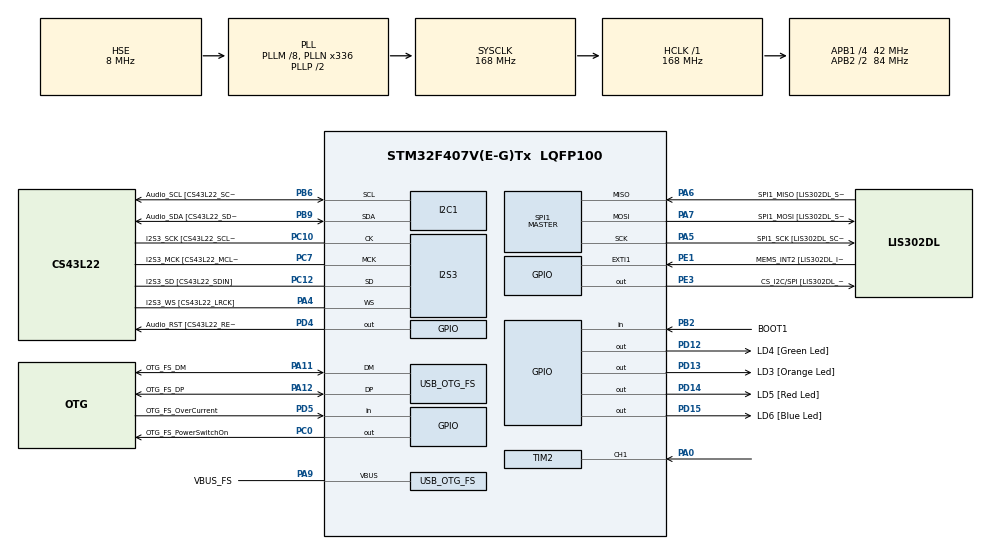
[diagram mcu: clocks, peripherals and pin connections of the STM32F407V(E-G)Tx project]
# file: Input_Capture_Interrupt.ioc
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I2S3.AudioFreq-Half_Duplex_Master=I2S_AUDIOFREQ_96K
I2S3.ErrorAudioFreq=-2.34 %
I2S3.ErrorAudioFreq-Half_Duplex_Master=0.8 %
I2S3.FullDuplexMode=I2S_FULLDUPLEXMODE_DISABLE
I2S3.Instance=SPI$Index
I2S3.RealAudioFreq=93.75 KHz
I2S3.RealAudioFreq-Half_Duplex_Master=96.774 KHz
I2S3.VirtualMode=I2S_MODE_MASTER
Mcu.Family=STM32F4
Mcu.Name=STM32F407V(E-G)Tx
Mcu.Package=LQFP100
NVIC.OTG_FS_IRQn=true\:0\:0\:false\:false\:true\:true\:true\:true
NVIC.PriorityGroup=NVIC_PRIORITYGROUP_0
NVIC.TIM2_IRQn=true\:0\:0\:false\:false\:true\:true\:true\:true
PA0-WKUP.Signal=S_TIM2_CH1_ETR
PA10.GPIO_Label=OTG_FS_ID
PA10.GPIO_Mode=GPIO_MODE_AF_PP
PA10.GPIO_PuPd=GPIO_NOPULL
PA10.GPIO_Speed=GPIO_SPEED_FREQ_LOW
PA10.Signal=USB_OTG_FS_ID
PA11.GPIO_Label=OTG_FS_DM
PA11.GPIO_Mode=GPIO_MODE_AF_PP
PA11.GPIO_PuPd=GPIO_NOPULL
PA11.GPIO_Speed=GPIO_SPEED_FREQ_LOW
PA11.Mode=Host_Only
PA11.Signal=USB_OTG_FS_DM
PA12.GPIO_Label=OTG_FS_DP
PA12.GPIO_Mode=GPIO_MODE_AF_PP
PA12.GPIO_PuPd=GPIO_NOPULL
PA12.GPIO_Speed=GPIO_SPEED_FREQ_LOW
PA12.Mode=Host_Only
PA12.Signal=USB_OTG_FS_DP
PA13.GPIO_Label=SWDIO
PA13.Mode=Serial_Wire
PA13.Signal=SYS_JTMS-SWDIO
PA14.GPIO_Label=SWCLK
PA14.Mode=Serial_Wire
PA14.Signal=SYS_JTCK-SWCLK
PA4.GPIO_Label=I2S3_WS [CS43L22_LRCK]
PA4.GPIO_Mode=GPIO_MODE_AF_PP
PA4.GPIO_PuPd=GPIO_NOPULL
PA4.GPIO_Speed=GPIO_SPEED_FREQ_LOW
PA4.Mode=Half_Duplex_Master
PA4.Signal=I2S3_WS
PA5.GPIO_Label=SPI1_SCK [LIS302DL_SCL/SPC]
PA5.GPIO_Mode=GPIO_MODE_AF_PP
PA5.GPIO_PuPd=GPIO_NOPULL
PA5.GPIO_Speed=GPIO_SPEED_FREQ_LOW
PA5.Mode=Full_Duplex_Master
PA5.Signal=SPI1_SCK
PA6.GPIO_Label=SPI1_MISO [LIS302DL_SDO]
PA6.GPIO_Mode=GPIO_MODE_AF_PP
PA6.GPIO_PuPd=GPIO_NOPULL
PA6.GPIO_Speed=GPIO_SPEED_FREQ_LOW
PA6.Mode=Full_Duplex_Master
PA6.Signal=SPI1_MISO
PA7.GPIO_Label=SPI1_MOSI [LIS302DL_SDA/SDI/SDO]
PA7.GPIO_Mode=GPIO_MODE_AF_PP
PA7.GPIO_PuPd=GPIO_NOPULL
PA7.GPIO_Speed=GPIO_SPEED_FREQ_LOW
PA7.Mode=Full_Duplex_Master
PA7.Signal=SPI1_MOSI
PA9.GPIO_Label=VBUS_FS
PA9.GPIO_Mode=GPIO_MODE_INPUT
PA9.GPIO_PuPd=GPIO_NOPULL
PA9.Mode=Activate_VBUS
PA9.Signal=USB_OTG_FS_VBUS
PB10.GPIO_Label=CLK_IN [MP45DT02_CLK]
PB10.GPIO_Mode=GPIO_MODE_AF_PP
PB10.GPIO_PuPd=GPIO_NOPULL
PB10.GPIO_Speed=GPIO_SPEED_FREQ_LOW
PB10.Signal=I2S2_CK
PB2.GPIO_Label=BOOT1
PB2.GPIO_Mode=GPIO_MODE_INPUT
PB2.GPIO_PuPd=GPIO_NOPULL
PB2.Signal=GPIO_Input
PB3.GPIO_Label=SWO
PB3.Signal=SYS_JTDO-SWO
PB6.GPIO_Label=Audio_SCL [CS43L22_SCL]
PB6.GPIO_Mode=GPIO_MODE_AF_OD
PB6.GPIO_Pu=GPIO_PULLUP
PB6.GPIO_PuPd=GPIO_NOPULL
PB6.GPIO_Speed=GPIO_SPEED_FREQ_LOW
PB6.Mode=I2C
PB6.Signal=I2C1_SCL
PB9.GPIO_Label=Audio_SDA [CS43L22_SDA]
PB9.GPIO_Mode=GPIO_MODE_AF_OD
PB9.GPIO_Pu=GPIO_PULLUP
PB9.GPIO_PuPd=GPIO_NOPULL
PB9.GPIO_Speed=GPIO_SPEED_FREQ_LOW
PB9.Mode=I2C
PB9.Signal=I2C1_SDA
PC0.GPIO_Label=OTG_FS_PowerSwitchOn
PC0.GPIO_PuPd=GPIO_NOPULL
PC0.GPIO_Speed=GPIO_SPEED_FREQ_LOW
PC0.PinState=GPIO_PIN_SET
PC0.Signal=GPIO_Output
PC10.GPIO_Label=I2S3_SCK [CS43L22_SCLK]
PC10.GPIO_Mode=GPIO_MODE_AF_PP
PC10.GPIO_PuPd=GPIO_NOPULL
PC10.GPIO_Speed=GPIO_SPEED_FREQ_LOW
PC10.Mode=Half_Duplex_Master
PC10.Signal=I2S3_CK
PC12.GPIO_Label=I2S3_SD [CS43L22_SDIN]
PC12.GPIO_Mode=GPIO_MODE_AF_PP
PC12.GPIO_PuPd=GPIO_NOPULL
PC12.GPIO_Speed=GPIO_SPEED_FREQ_LOW
PC12.Mode=Half_Duplex_Master
PC12.Signal=I2S3_SD
PC14-OSC32_IN.GPIO_Label=PC14-OSC32_IN
PC14-OSC32_IN.Mode=LSE-External-Oscillator
PC14-OSC32_IN.Signal=RCC_OSC32_IN
PC15-OSC32_OUT.GPIO_Label=PC15-OSC32_OUT
PC15-OSC32_OUT.Mode=LSE-External-Oscillator
PC15-OSC32_OUT.Signal=RCC_OSC32_OUT
PC3.GPIO_Label=PDM_OUT [MP45DT02_DOUT]
PC3.GPIO_Mode=GPIO_MODE_AF_PP
PC3.GPIO_PuPd=GPIO_NOPULL
PC3.GPIO_Speed=GPIO_SPEED_FREQ_LOW
PC3.Signal=I2S2_SD
PC7.GPIO_Label=I2S3_MCK [CS43L22_MCLK]
PC7.GPIO_Mode=GPIO_MODE_AF_PP
PC7.GPIO_PuPd=GPIO_NOPULL
PC7.GPIO_Speed=GPIO_SPEED_FREQ_LOW
PC7.Mode=Master_Clock_Activated
PC7.Signal=I2S3_MCK
PD12.GPIO_Label=LD4 [Green Led]
PD12.GPIO_PuPd=GPIO_NOPULL
PD12.GPIO_Speed=GPIO_SPEED_FREQ_LOW
PD12.Signal=GPIO_Output
PD13.GPIO_Label=LD3 [Orange Led]
PD13.GPIO_PuPd=GPIO_NOPULL
PD13.GPIO_Speed=GPIO_SPEED_FREQ_LOW
PD13.Signal=GPIO_Output
PD14.GPIO_Label=LD5 [Red Led]
PD14.GPIO_PuPd=GPIO_NOPULL
PD14.GPIO_Speed=GPIO_SPEED_FREQ_LOW
PD14.Signal=GPIO_Output
PD15.GPIO_Label=LD6 [Blue Led]
PD15.GPIO_PuPd=GPIO_NOPULL
PD15.GPIO_Speed=GPIO_SPEED_FREQ_LOW
PD15.Signal=GPIO_Output
PD4.GPIO_Label=Audio_RST [CS43L22_RESET]
PD4.GPIO_PuPd=GPIO_NOPULL
PD4.GPIO_Speed=GPIO_SPEED_FREQ_LOW
PD4.Signal=GPIO_Output
PD5.GPIO_Label=OTG_FS_OverCurrent
PD5.GPIO_Mode=GPIO_MODE_INPUT
PD5.GPIO_PuPd=GPIO_NOPULL
PD5.Signal=GPIO_Input
PE1.GPIO_Label=MEMS_INT2 [LIS302DL_INT2]
PE1.GPIO_ModeDefaultEXTI=GPIO_MODE_EVT_RISING
PE1.GPIO_PuPd=GPIO_NOPULL
PE1.Signal=GPXTI1
PE3.GPIO_Label=CS_I2C/SPI [LIS302DL_CS_I2C/SPI]
PE3.GPIO_PuPd=GPIO_NOPULL
PE3.GPIO_Speed=GPIO_SPEED_FREQ_LOW
PE3.Signal=GPIO_Output
PH0-OSC_IN.GPIO_Label=PH0-OSC_IN
PH0-OSC_IN.Mode=HSE-External-Oscillator
PH0-OSC_IN.Signal=RCC_OSC_IN
PH1-OSC_OUT.GPIO_Label=PH1-OSC_OUT
PH1-OSC_OUT.Mode=HSE-External-Oscillator
PH1-OSC_OUT.Signal=RCC_OSC_OUT
ProjectManager.HeapSize=0x200
ProjectManager.StackSize=0x400
ProjectManager.TargetToolchain=STM32CubeIDE
RCC.48MHZClocksFreq_Value=48000000
RCC.AHBFreq_Value=168000000
RCC.APB1CLKDivider=RCC_HCLK_DIV4
RCC.APB1Freq_Value=42000000
RCC.APB1TimFreq_Value=84000000
RCC.APB2CLKDivider=RCC_HCLK_DIV2
RCC.APB2Freq_Value=84000000
RCC.APB2TimFreq_Value=168000000
RCC.CortexFreq_Value=168000000
RCC.HCLKFreq_Value=168000000
RCC.HSE_VALUE=8000000
RCC.HSI_VALUE=16000000
RCC.PLLM=8
RCC.PLLN=336
RCC.PLLQ=7
RCC.SYSCLKFreq_VALUE=168000000
RCC.SYSCLKSource=RCC_SYSCLKSOURCE_PLLCLK
RCC.VCOOutputFreq_Value=336000000
SH.S_TIM2_CH1_ETR.0=TIM2_CH1,Input_Capture1_from_TI1
SPI1.BaudRatePrescaler-Full_Duplex_Master=SPI_BAUDRATEPRESCALER_2
SPI1.CalculateBaudRate-Full_Duplex_Master=42.0 MBits/s
SPI1.Direction=SPI_DIRECTION_2LINES
SPI1.Mode=SPI_MODE_MASTER
SPI1.Mode-Full_Duplex_Master=SPI_MODE_MASTER
SPI1.VirtualType=VM_MASTER
TIM2.Channel-Input_Capture1_from_TI1=TIM_CHANNEL_1
TIM2.Period=5000-1
TIM2.Prescaler=8400-1
USB_HOST.BSP.number=1
USB_HOST.USBH_HandleTypeDef-CDC_FS=hUsbHostFS
USB_HOST.VirtualModeFS=Cdc
USB_HOST0.BSP.STBoard=false
USB_HOST0.BSP.api=Unknown
USB_HOST0.BSP.instance=PC0
USB_HOST0.BSP.ip=GPIO
USB_HOST0.BSP.mode=Output
USB_HOST0.BSP.name=Drive_VBUS_FS
USB_HOST0.BSP.solution=PC0
USB_OTG_FS.VirtualMode=Host_Only
USB_OTG_FS.phy_itface=HCD_PHY_EMBEDDED
VP_TIM2_VS_ClockSourceINT.Mode=Internal
VP_USB_HOST_VS_USB_HOST_CDC_FS.Mode=CDC_FS
board=STM32F407G-DISC1

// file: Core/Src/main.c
/* USER CODE BEGIN Header */
/**
  ******************************************************************************
  * @file           : main.c
  * @brief          : Main program body
  ******************************************************************************
  * @attention
  *
  * Copyright (c) 2025 STMicroelectronics.
  * All rights reserved.
  *
  * This software is licensed under terms that can be found in the LICENSE file
  * in the root directory of this software component.
  * If no LICENSE file comes with this software, it is provided AS-IS.
  *
  ******************************************************************************
  */
/* USER CODE END Header */
#include "main.h"
#include "usb_host.h"

I2C_HandleTypeDef hi2c1;

I2S_HandleTypeDef hi2s3;

SPI_HandleTypeDef hspi1;

TIM_HandleTypeDef htim2;

/* USER CODE BEGIN PV */
uint8_t gCaptureFlag = 0;
uint32_t gCaptureValue1 = 0;
uint32_t gCaptureValue2 = 0;
uint32_t gPeriod = 0;

/* USER CODE END PV */

void SystemClock_Config(void);
static void MX_GPIO_Init(void);
static void MX_I2C1_Init(void);
static void MX_I2S3_Init(void);
static void MX_SPI1_Init(void);
static void MX_TIM2_Init(void);
void MX_USB_HOST_Process(void);

int main(void)
{

  /* MCU Configuration--------------------------------------------------------*/

  /* Reset of all peripherals, Initializes the Flash interface and the Systick. */
  HAL_Init();

  /* Configure the system clock */
  SystemClock_Config();

  /* Initialize all configured peripherals */
  MX_GPIO_Init();
  MX_I2C1_Init();
  MX_I2S3_Init();
  MX_SPI1_Init();
  MX_USB_HOST_Init();
  MX_TIM2_Init();
  /* USER CODE BEGIN 2 */
  HAL_TIM_IC_Start_IT(&htim2, TIM_CHANNEL_1);

  /* USER CODE END 2 */

  /* Infinite loop */
  while (1)
  {
    MX_USB_HOST_Process();

  }
}

void SystemClock_Config(void)
{
  RCC_OscInitTypeDef RCC_OscInitStruct = {0};
  RCC_ClkInitTypeDef RCC_ClkInitStruct = {0};

  /** Configure the main internal regulator output voltage
  */
  __HAL_RCC_PWR_CLK_ENABLE();
  __HAL_PWR_VOLTAGESCALING_CONFIG(PWR_REGULATOR_VOLTAGE_SCALE1);

  /** Initializes the RCC Oscillators according to the specified parameters
  * in the RCC_OscInitTypeDef structure.
  */
  RCC_OscInitStruct.OscillatorType = RCC_OSCILLATORTYPE_HSE;
  RCC_OscInitStruct.HSEState = RCC_HSE_ON;
  RCC_OscInitStruct.PLL.PLLState = RCC_PLL_ON;
  RCC_OscInitStruct.PLL.PLLSource = RCC_PLLSOURCE_HSE;
  RCC_OscInitStruct.PLL.PLLM = 8;
  RCC_OscInitStruct.PLL.PLLN = 336;
  RCC_OscInitStruct.PLL.PLLP = RCC_PLLP_DIV2;
  RCC_OscInitStruct.PLL.PLLQ = 7;
  if (HAL_RCC_OscConfig(&RCC_OscInitStruct) != HAL_OK)
  {
    Error_Handler();
  }

  /** Initializes the CPU, AHB and APB buses clocks
  */
  RCC_ClkInitStruct.ClockType = RCC_CLOCKTYPE_HCLK|RCC_CLOCKTYPE_SYSCLK
                              |RCC_CLOCKTYPE_PCLK1|RCC_CLOCKTYPE_PCLK2;
  RCC_ClkInitStruct.SYSCLKSource = RCC_SYSCLKSOURCE_PLLCLK;
  RCC_ClkInitStruct.AHBCLKDivider = RCC_SYSCLK_DIV1;
  RCC_ClkInitStruct.APB1CLKDivider = RCC_HCLK_DIV4;
  RCC_ClkInitStruct.APB2CLKDivider = RCC_HCLK_DIV2;

  if (HAL_RCC_ClockConfig(&RCC_ClkInitStruct, FLASH_LATENCY_5) != HAL_OK)
  {
    Error_Handler();
  }
}

static void MX_I2C1_Init(void)
{

  hi2c1.Instance = I2C1;
  hi2c1.Init.ClockSpeed = 100000;
  hi2c1.Init.DutyCycle = I2C_DUTYCYCLE_2;
  hi2c1.Init.OwnAddress1 = 0;
  hi2c1.Init.AddressingMode = I2C_ADDRESSINGMODE_7BIT;
  hi2c1.Init.DualAddressMode = I2C_DUALADDRESS_DISABLE;
  hi2c1.Init.OwnAddress2 = 0;
  hi2c1.Init.GeneralCallMode = I2C_GENERALCALL_DISABLE;
  hi2c1.Init.NoStretchMode = I2C_NOSTRETCH_DISABLE;
  if (HAL_I2C_Init(&hi2c1) != HAL_OK)
  {
    Error_Handler();
  }

}

static void MX_I2S3_Init(void)
{

  hi2s3.Instance = SPI3;
  hi2s3.Init.Mode = I2S_MODE_MASTER_TX;
  hi2s3.Init.Standard = I2S_STANDARD_PHILIPS;
  hi2s3.Init.DataFormat = I2S_DATAFORMAT_16B;
  hi2s3.Init.MCLKOutput = I2S_MCLKOUTPUT_ENABLE;
  hi2s3.Init.AudioFreq = I2S_AUDIOFREQ_96K;
  hi2s3.Init.CPOL = I2S_CPOL_LOW;
  hi2s3.Init.ClockSource = I2S_CLOCK_PLL;
  hi2s3.Init.FullDuplexMode = I2S_FULLDUPLEXMODE_DISABLE;
  if (HAL_I2S_Init(&hi2s3) != HAL_OK)
  {
    Error_Handler();
  }

}

static void MX_SPI1_Init(void)
{

  /* SPI1 parameter configuration*/
  hspi1.Instance = SPI1;
  hspi1.Init.Mode = SPI_MODE_MASTER;
  hspi1.Init.Direction = SPI_DIRECTION_2LINES;
  hspi1.Init.DataSize = SPI_DATASIZE_8BIT;
  hspi1.Init.CLKPolarity = SPI_POLARITY_LOW;
  hspi1.Init.CLKPhase = SPI_PHASE_1EDGE;
  hspi1.Init.NSS = SPI_NSS_SOFT;
  hspi1.Init.BaudRatePrescaler = SPI_BAUDRATEPRESCALER_2;
  hspi1.Init.FirstBit = SPI_FIRSTBIT_MSB;
  hspi1.Init.TIMode = SPI_TIMODE_DISABLE;
  hspi1.Init.CRCCalculation = SPI_CRCCALCULATION_DISABLE;
  hspi1.Init.CRCPolynomial = 10;
  if (HAL_SPI_Init(&hspi1) != HAL_OK)
  {
    Error_Handler();
  }

}

static void MX_TIM2_Init(void)
{

  TIM_ClockConfigTypeDef sClockSourceConfig = {0};
  TIM_MasterConfigTypeDef sMasterConfig = {0};
  TIM_IC_InitTypeDef sConfigIC = {0};

  htim2.Instance = TIM2;
  htim2.Init.Prescaler = 8400-1;
  htim2.Init.CounterMode = TIM_COUNTERMODE_UP;
  htim2.Init.Period = 5000-1;
  htim2.Init.ClockDivision = TIM_CLOCKDIVISION_DIV1;
  htim2.Init.AutoReloadPreload = TIM_AUTORELOAD_PRELOAD_DISABLE;
  if (HAL_TIM_Base_Init(&htim2) != HAL_OK)
  {
    Error_Handler();
  }
  sClockSourceConfig.ClockSource = TIM_CLOCKSOURCE_INTERNAL;
  if (HAL_TIM_ConfigClockSource(&htim2, &sClockSourceConfig) != HAL_OK)
  {
    Error_Handler();
  }
  if (HAL_TIM_IC_Init(&htim2) != HAL_OK)
  {
    Error_Handler();
  }
  sMasterConfig.MasterOutputTrigger = TIM_TRGO_RESET;
  sMasterConfig.MasterSlaveMode = TIM_MASTERSLAVEMODE_DISABLE;
  if (HAL_TIMEx_MasterConfigSynchronization(&htim2, &sMasterConfig) != HAL_OK)
  {
    Error_Handler();
  }
  sConfigIC.ICPolarity = TIM_INPUTCHANNELPOLARITY_RISING;
  sConfigIC.ICSelection = TIM_ICSELECTION_DIRECTTI;
  sConfigIC.ICPrescaler = TIM_ICPSC_DIV1;
  sConfigIC.ICFilter = 0;
  if (HAL_TIM_IC_ConfigChannel(&htim2, &sConfigIC, TIM_CHANNEL_1) != HAL_OK)
  {
    Error_Handler();
  }

}

static void MX_GPIO_Init(void)
{
  GPIO_InitTypeDef GPIO_InitStruct = {0};

  /* GPIO Ports Clock Enable */
  __HAL_RCC_GPIOE_CLK_ENABLE();
  __HAL_RCC_GPIOC_CLK_ENABLE();
  __HAL_RCC_GPIOH_CLK_ENABLE();
  __HAL_RCC_GPIOA_CLK_ENABLE();
  __HAL_RCC_GPIOB_CLK_ENABLE();
  __HAL_RCC_GPIOD_CLK_ENABLE();

  /*Configure GPIO pin Output Level */
  HAL_GPIO_WritePin(CS_I2C_SPI_GPIO_Port, CS_I2C_SPI_Pin, GPIO_PIN_RESET);

  /*Configure GPIO pin Output Level */
  HAL_GPIO_WritePin(OTG_FS_PowerSwitchOn_GPIO_Port, OTG_FS_PowerSwitchOn_Pin, GPIO_PIN_SET);

  /*Configure GPIO pin Output Level */
  HAL_GPIO_WritePin(GPIOD, LD4_Pin|LD3_Pin|LD5_Pin|LD6_Pin
                          |Audio_RST_Pin, GPIO_PIN_RESET);

  /*Configure GPIO pin : CS_I2C_SPI_Pin */
  GPIO_InitStruct.Pin = CS_I2C_SPI_Pin;
  GPIO_InitStruct.Mode = GPIO_MODE_OUTPUT_PP;
  GPIO_InitStruct.Pull = GPIO_NOPULL;
  GPIO_InitStruct.Speed = GPIO_SPEED_FREQ_LOW;
  HAL_GPIO_Init(CS_I2C_SPI_GPIO_Port, &GPIO_InitStruct);

  /*Configure GPIO pin : OTG_FS_PowerSwitchOn_Pin */
  GPIO_InitStruct.Pin = OTG_FS_PowerSwitchOn_Pin;
  GPIO_InitStruct.Mode = GPIO_MODE_OUTPUT_PP;
  GPIO_InitStruct.Pull = GPIO_NOPULL;
  GPIO_InitStruct.Speed = GPIO_SPEED_FREQ_LOW;
  HAL_GPIO_Init(OTG_FS_PowerSwitchOn_GPIO_Port, &GPIO_InitStruct);

  /*Configure GPIO pin : PDM_OUT_Pin */
  GPIO_InitStruct.Pin = PDM_OUT_Pin;
  GPIO_InitStruct.Mode = GPIO_MODE_AF_PP;
  GPIO_InitStruct.Pull = GPIO_NOPULL;
  GPIO_InitStruct.Speed = GPIO_SPEED_FREQ_LOW;
  GPIO_InitStruct.Alternate = GPIO_AF5_SPI2;
  HAL_GPIO_Init(PDM_OUT_GPIO_Port, &GPIO_InitStruct);

  /*Configure GPIO pin : BOOT1_Pin */
  GPIO_InitStruct.Pin = BOOT1_Pin;
  GPIO_InitStruct.Mode = GPIO_MODE_INPUT;
  GPIO_InitStruct.Pull = GPIO_NOPULL;
  HAL_GPIO_Init(BOOT1_GPIO_Port, &GPIO_InitStruct);

  /*Configure GPIO pin : CLK_IN_Pin */
  GPIO_InitStruct.Pin = CLK_IN_Pin;
  GPIO_InitStruct.Mode = GPIO_MODE_AF_PP;
  GPIO_InitStruct.Pull = GPIO_NOPULL;
  GPIO_InitStruct.Speed = GPIO_SPEED_FREQ_LOW;
  GPIO_InitStruct.Alternate = GPIO_AF5_SPI2;
  HAL_GPIO_Init(CLK_IN_GPIO_Port, &GPIO_InitStruct);

  /*Configure GPIO pins : LD4_Pin LD3_Pin LD5_Pin LD6_Pin
                           Audio_RST_Pin */
  GPIO_InitStruct.Pin = LD4_Pin|LD3_Pin|LD5_Pin|LD6_Pin
                          |Audio_RST_Pin;
  GPIO_InitStruct.Mode = GPIO_MODE_OUTPUT_PP;
  GPIO_InitStruct.Pull = GPIO_NOPULL;
  GPIO_InitStruct.Speed = GPIO_SPEED_FREQ_LOW;
  HAL_GPIO_Init(GPIOD, &GPIO_InitStruct);

  /*Configure GPIO pin : OTG_FS_OverCurrent_Pin */
  GPIO_InitStruct.Pin = OTG_FS_OverCurrent_Pin;
  GPIO_InitStruct.Mode = GPIO_MODE_INPUT;
  GPIO_InitStruct.Pull = GPIO_NOPULL;
  HAL_GPIO_Init(OTG_FS_OverCurrent_GPIO_Port, &GPIO_InitStruct);

  /*Configure GPIO pin : MEMS_INT2_Pin */
  GPIO_InitStruct.Pin = MEMS_INT2_Pin;
  GPIO_InitStruct.Mode = GPIO_MODE_EVT_RISING;
  GPIO_InitStruct.Pull = GPIO_NOPULL;
  HAL_GPIO_Init(MEMS_INT2_GPIO_Port, &GPIO_InitStruct);

}

/* USER CODE BEGIN 4 */
void HAL_TIM_IC_CaptureCallback(TIM_HandleTypeDef *htim)
{
	if(htim->Instance == TIM2)
	{
		if(gCaptureFlag == 0)
		{
			gCaptureValue1 = HAL_TIM_ReadCapturedValue(htim, TIM_CHANNEL_1);
			gCaptureFlag = 1;
		}
		else if(gCaptureFlag == 1)
		{
			gCaptureValue2 = HAL_TIM_ReadCapturedValue(htim, TIM_CHANNEL_1);

			if(gCaptureValue2 > gCaptureValue1)
			{
				gPeriod = gCaptureValue2 - gCaptureValue1;
			}
			else
			{
				gPeriod = (0xFFFF - gCaptureValue1) + gCaptureValue2 + 1;
			}
		gCaptureFlag = 0;
		}
	}
}
/* USER CODE END 4 */

void Error_Handler(void)
{
  __disable_irq();
  while (1)
  {
  }
}
